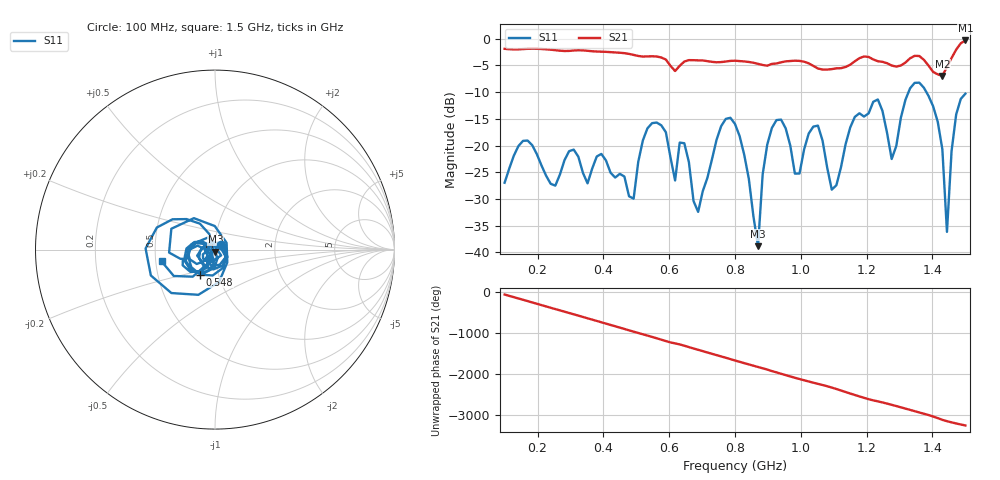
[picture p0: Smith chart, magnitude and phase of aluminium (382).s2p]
! NanoVNA-App
! Date: 2025-09-25 14:58:15
! Start: 100MHz Stop: 1,5GHz Points: 101
! S-Parameter data: F S11 S21 S12 S22
# Hz S RI R 50
!  Frequency  S11_Real  S11_Imag  S21_Real  S21_Imag  S12_Real  S12_Imag  S22_Real  S22_Imag
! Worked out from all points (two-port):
!   101 points, 100 MHz to 1.5 GHz, reference 50 ohm
!   highest |S21| = -0.35 dB at 1.5 GHz (marker M1); lowest = -7.0 dB at 1.43 GHz (marker M2)
!   |S21| within 3 dB of the highest: start of sweep to 518.6 MHz; 1.461 GHz to end of sweep (the widest 2 of 5)
!   lowest |S11| = -38.8 dB at 870 MHz (marker M3), VSWR 1.02, Z = 50.2 - j1.12 ohm
!   |S11| at or under -10 dB: start of sweep to 1.327 GHz; 1.381 GHz to end of sweep
!   S12 and S22 are empty: the file has one direction only
!   S11 on the Smith chart (normalised r, x): 100 MHz: 1.07, +0.06; 548 MHz: 0.82, -0.23; 1.5 GHz: 0.54, -0.08
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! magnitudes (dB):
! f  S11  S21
! 100 MHz  -27.0  -1.9
! 156 MHz  -19.1  -2.0
! 338 MHz  -25.1  -2.2
! 492 MHz  -29.9  -3.1
! 548 MHz  -15.8  -3.3
! 576 MHz  -16.2  -3.5
! 618 MHz  -26.5  -6.1
! 646 MHz  -19.6  -4.3
! 688 MHz  -32.4  -4.1
! 800 MHz  -16.0  -4.1
! 870 MHz  -38.8  -4.7
! 912 MHz  -16.7  -4.7
! 996 MHz  -25.2  -4.2
! 1.038 GHz  -16.5  -5.1
! 1.094 GHz  -28.2  -5.7
! 1.22 GHz  -11.8  -3.9
! 1.276 GHz  -22.5  -5.0
! 1.346 GHz  -8.3  -3.2
! 1.43 GHz  -20.7  -7.0
! 1.444 GHz  -36.2  -5.3
! 1.472 GHz  -14.2  -2.1
! 1.5 GHz  -10.3  -0.4
